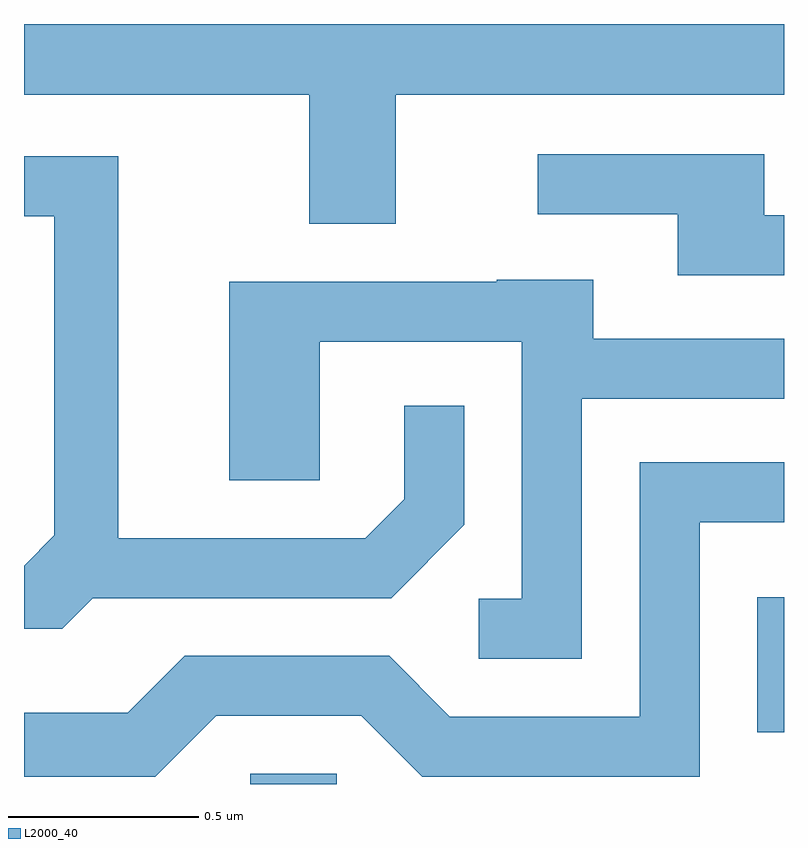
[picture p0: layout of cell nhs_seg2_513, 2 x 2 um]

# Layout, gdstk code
import gdstk
lib = gdstk.Library(unit=1e-6, precision=1e-09)
def R(c, l, rs):  # rectangles x0, y0, x1, y1
    for r in rs: c.add(gdstk.rectangle(r[:2], r[2:], *l))
def P(c, l, *ps):  # polygons
    for p in ps: c.add(gdstk.Polygon(p, *l))
L2000_40 = (2000, 40)

nhs_seg2_513 = lib.new_cell('nhs_seg2_513')
R(nhs_seg2_513, L2000_40, [(189.206,1079.802,189.434,1079.829), (190.541,1079.938,190.611,1080.294)])
P(nhs_seg2_513, L2000_40, [(189.589,1081.616),(190.611,1081.616),(190.611,1081.802),(188.611,1081.802),(188.611,1081.616),(189.361,1081.616),(189.361,1081.276),(189.589,1081.276)],
  [(190.611,1081.299),(190.559,1081.299),(190.559,1081.459),(189.963,1081.459),(189.963,1081.301),(190.331,1081.301),(190.331,1081.141),(190.611,1081.141)],
  [(188.792,1080.291),(189.577,1080.291),(189.769,1080.484),(189.769,1080.798),(189.611,1080.798),(189.611,1080.552),(189.509,1080.449),(188.859,1080.449),(188.859,1081.454),(188.611,1081.454),(188.611,1081.296),(188.691,1081.296),(188.691,1080.457),(188.611,1080.376),(188.611,1080.211),(188.712,1080.211)],
  [(190.079,1080.816),(190.611,1080.816),(190.611,1080.974),(190.109,1080.974),(190.109,1081.129),(189.855,1081.129),(189.855,1081.124),(189.151,1081.124),(189.151,1080.601),(189.389,1080.601),(189.389,1080.966),(189.921,1080.966),(189.921,1080.289),(189.808,1080.289),(189.808,1080.131),(190.079,1080.131)],
  [(189.117,1079.981),(189.499,1079.981),(189.659,1079.821),(190.389,1079.821),(190.389,1080.491),(190.611,1080.491),(190.611,1080.649),(190.231,1080.649),(190.231,1079.979),(189.732,1079.979),(189.572,1080.139),(189.034,1080.139),(188.884,1079.989),(188.611,1079.989),(188.611,1079.821),(188.957,1079.821)])

lib.write_gds('nhs_seg2_513.gds')
